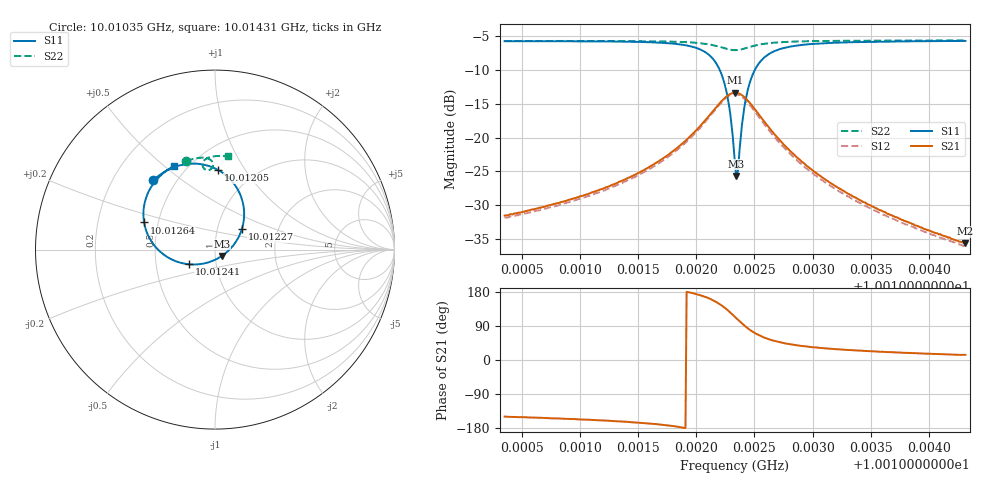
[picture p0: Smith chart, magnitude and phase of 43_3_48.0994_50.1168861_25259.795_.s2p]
#  HZ  S  RI  R  50.00
! Rohde & Schwarz Vector Network Analyzer
! Rohde-Schwarz,ZNB20-2Port,1311601062101988,3.16
! Created: UTC 12/23/2023, 3:39:00 AM
! freq[Hz]  re:S11  im:S11  re:S21  im:S21  re:S12  im:S12  re:S22  im:S22
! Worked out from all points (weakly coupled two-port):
!   401 points, 10.01035 GHz to 10.01431 GHz, reference 50 ohm
!   highest |S21| = -13.35 dB at 10.01233 GHz (marker M1); lowest = -35.7 dB at 10.01431 GHz (marker M2)
!   lowest |S11| = -25.7 dB at 10.01234 GHz (marker M3), VSWR 1.11, Z = 53.8 - j3.87 ohm
!   |S11| at or under -10 dB: 10.0122 GHz to 10.0125 GHz (301.2 kHz wide, 0.00301 % of centre)
!   |S22| runs from -7.0 to -5.6 dB; largest |S21 - S12| = 0.0099
!   S11 on the Smith chart (normalised r, x): 10.01035 GHz: 0.37, +0.40; 10.01205 GHz: 0.69, +0.76; 10.01227 GHz: 1.31, +0.32; 10.01241 GHz: 0.74, -0.12; 10.01264 GHz: 0.42, +0.15; 10.01431 GHz: 0.42, +0.54
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1.0010353e10  -0.3438 0.3868  -0.0227 -0.0135  -0.021 -0.0141  -0.1593 0.4944
1.0011016e10  -0.287 0.4296  -0.0341 -0.0144  -0.032 -0.0155  -0.1149 0.5066
1.0011373e10  -0.2399 0.4543  -0.0461 -0.0145  -0.0437 -0.0162  -0.0886 0.511
1.001168e10  -0.1722 0.4747  -0.066 -0.0117  -0.0629 -0.0145  -0.063 0.5122
1.0011878e10  -0.0956 0.4781  -0.0899 -0.00291  -0.0866 -0.00761  -0.0431 0.5091
1.0012046e10  0.0162 0.4441  -0.1232 0.0224  -0.1207 0.0151  -0.0231 0.4985
1.0012184e10  0.1393 0.3093  -0.1508 0.0849  -0.1519 0.0751  -0.0108 0.4746
1.0012234e10  0.162 0.2116  -0.1486 0.1225  -0.1508 0.1138  -0.0127 0.4615
1.0012274e10  0.1503 0.1162  -0.1337 0.1565  -0.137 0.1484  -0.0192 0.4512
1.0012293e10  0.1309 0.068  -0.121 0.1722  -0.1252 0.1645  -0.0242 0.4471
1.0012333e10  0.0615 -0.0182  -0.0862 0.1969  -0.0909 0.1896  -0.037 0.4426
1.0012343e10  0.0376 -0.0359  -0.0755 0.2011  -0.0808 0.1937  -0.0405 0.4425
1.0012363e10  -0.0115 -0.062  -0.0552 0.2055  -0.0599 0.1985  -0.0472 0.4436
1.0012412e10  -0.1436 -0.0821  -0.00443 0.1998  -0.00895 0.1934  -0.0612 0.4519
1.0012452e10  -0.2329 -0.0587  0.027 0.1825  0.0208 0.1765  -0.0673 0.4618
1.0012501e10  -0.3136 -0.00402  0.0518 0.155  0.0455 0.15  -0.0693 0.4742
1.001264e10  -0.3951 0.1516  0.0687 0.0916  0.062 0.0898  -0.0591 0.4985
1.0012798e10  -0.3921 0.2593  0.0602 0.0542  0.0551 0.0537  -0.0422 0.5106
1.0012996e10  -0.3652 0.3318  0.0478 0.0321  0.044 0.0325  -0.0231 0.5174
1.0013343e10  -0.3209 0.3949  0.0331 0.016  0.0307 0.0168  0.00545 0.5214
1.0013659e10  -0.2875 0.4269  0.0252 0.00955  0.0235 0.0104  0.0289 0.522
1.0014313e10  -0.2301 0.466  0.016 0.00388  0.0151 0.00422  0.074 0.5187
